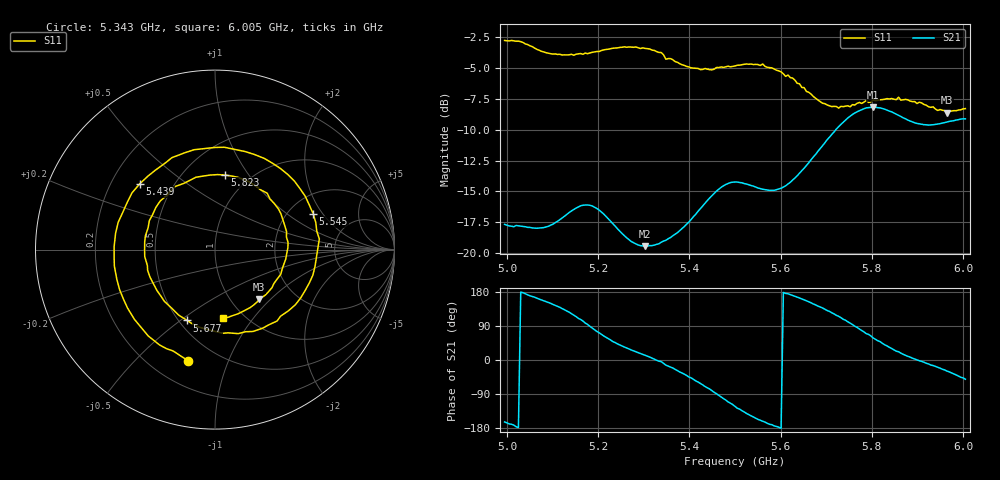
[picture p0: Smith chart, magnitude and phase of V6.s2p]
!File created by NanoVNA
# Hz S RI R 50
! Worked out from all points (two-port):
!   201 points, 4.995 GHz to 6.005 GHz, reference 50 ohm
!   highest |S21| = -8.17 dB at 5.803 GHz (marker M1); lowest = -19.5 dB at 5.303 GHz (marker M2)
!   |S21| within 3 dB of the highest: 5.695 GHz to end of sweep
!   lowest |S11| = -8.6 dB at 5.965 GHz (marker M3), VSWR 2.18, Z = 66.7 - j42.9 ohm
!   |S11| at or under -10 dB: nowhere
!   S12 and S22 are empty: the file has one direction only
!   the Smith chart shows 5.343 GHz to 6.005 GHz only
!   S11 on the Smith chart (normalised r, x): 5.343 GHz: 0.35, -0.72; 5.439 GHz: 0.32, +0.34; 5.545 GHz: 2.70, +1.63; 5.677 GHz: 0.55, -0.53; 5.823 GHz: 0.77, +0.78; 6.005 GHz: 0.80, -0.72
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4.995e9  0.2284 -0.6911  -0.1251 -0.0373  0 0  0 0
5.03035e9  -0.2705 -0.6672  -0.1284 0.00198  0 0  0 0
5.08085e9  -0.652 -0.052  -0.1157 0.0516  0 0  0 0
5.1667e9  0.097 0.6325  -0.0346 0.1523  0 0  0 0
5.2374e9  0.6728 0.0846  0.0894 0.0923  0 0  0 0
5.30305e9  0.3527 -0.5763  0.104 0.0232  0 0  0 0
5.33335e9  -0.0188 -0.6507  0.1088 -0.00612  0 0  0 0
5.34345e9  -0.1518 -0.6181  0.1104 -0.0174  0 0  0 0
5.39395e9  -0.5474 -0.1632  0.099 -0.0856  0 0  0 0
5.4394e9  -0.4191 0.3667  0.0465 -0.1564  0 0  0 0
5.5e9  0.2192 0.53  -0.1036 -0.164  0 0  0 0
5.54545e9  0.5472 0.1992  -0.1655 -0.0825  0 0  0 0
5.61615e9  0.3457 -0.3979  -0.1897 0.0171  0 0  0 0
5.6717e9  -0.1303 -0.4112  -0.2075 0.1307  0 0  0 0
5.67675e9  -0.1552 -0.3947  -0.2067 0.1425  0 0  0 0
5.7424e9  -0.3916 0.045  -0.0885 0.3348  0 0  0 0
5.803e9  -0.1059 0.4034  0.2064 0.3314  0 0  0 0
5.8232e9  0.0555 0.4153  0.2779 0.2673  0 0  0 0
5.83835e9  0.16 0.3899  0.3141 0.2073  0 0  0 0
5.904e9  0.4068 0.0408  0.3339 -0.0115  0 0  0 0
5.9646e9  0.2452 -0.2776  0.2965 -0.1659  0 0  0 0
6.005e9  0.0423 -0.3828  0.2215 -0.2711  0 0  0 0
